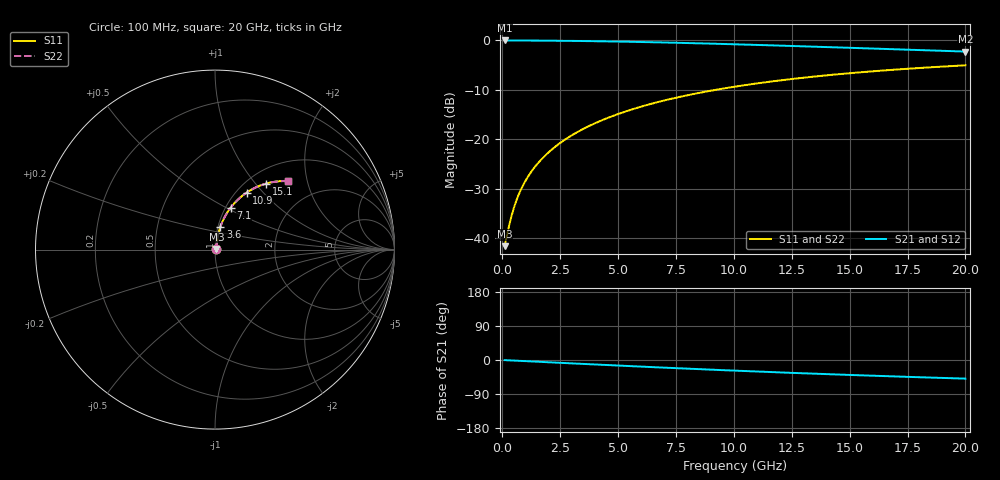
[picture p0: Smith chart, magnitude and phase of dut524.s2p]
! Touchstone file exported from HFSS 2024.1.0
!  File:  C:/UserFiles/LocalFiles/RDL_TSV_Batchsim/temp_RDL_bottom_524_1779688253.aedt
!  Generated:  01:53:22 PM May 25, 2026
!  Design:  RDL_bottom
!  Project:  temp_RDL_bottom_524_1779688253
!  Setup:  Setup1
!  Solution:  Sweep
! Variables:
!  dtsv = 10.80580581um
!  hbump = 3um
!  htsv = 85.27um
!  ldown = 625.69um
!  lrdl = 100um
!  p = 40
!  p1 = 49.77um
!  rhole = 1um
!  t = 450um
!  tdown = 2.95um
!  trdl = 3.915915916um
!  wdown = 10.06um
!  wrdl = 20um
# GHz S MA R 50.000000
! Terminal data exported
! Port[1] = RDL1_T1
! Port[2] = RDL1_T2
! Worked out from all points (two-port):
!   200 points, 100 MHz to 20 GHz, reference 50 ohm
!   highest |S21| = -0.06 dB at 100 MHz (marker M1); lowest = -2.3 dB at 20 GHz (marker M2)
!   |S21| within 3 dB of the highest: start of sweep to end of sweep
!   lowest |S11| = -41.6 dB at 100 MHz (marker M3), VSWR 1.02, Z = 50.7 + j0.381 ohm
!   |S11| at or under -10 dB: start of sweep to 9.251 GHz
!   |S22| runs from -41.6 to -5.1 dB; largest |S21 - S12| = 3.1e-15
!   S11 on the Smith chart (normalised r, x): 100 MHz: 1.01, +0.01; 3.6 GHz: 1.03, +0.27; 7.1 GHz: 1.06, +0.53; 10.9 GHz: 1.11, +0.81; 15.1 GHz: 1.21, +1.14; 20 GHz: 1.38, +1.53
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0.1  0.008344 26.7  0.9926 -0.3  0.9926 -0.3  0.008344 26.7
! Gamma 0 0 0 0
! Port Impedance 50 0 50 0
0.3  0.01361 55.6  0.9924 -0.9  0.9924 -0.9  0.01361 55.6
0.4  0.01689 62.1  0.9922 -1.2  0.9922 -1.2  0.01689 62.1
0.6  0.02381 69.3  0.9918 -1.8  0.9918 -1.8  0.02381 69.3
0.7  0.02734 71.4  0.9916 -2.1  0.9916 -2.1  0.02734 71.4
0.9  0.03446 74.1  0.9911 -2.7  0.9911 -2.7  0.03446 74.1
1.2  0.04518 76.4  0.9903 -3.6  0.9903 -3.6  0.04518 76.4
1.7  0.06309 77.9  0.9887 -5.1  0.9887 -5.1  0.06309 77.9
2.2  0.081 78.2  0.9867 -6.6  0.9867 -6.6  0.081 78.2
2.8  0.1024 77.8  0.9837 -8.3  0.9837 -8.3  0.1024 77.8
3.5  0.1273 76.9  0.9794 -10.4  0.9794 -10.4  0.1273 76.9
3.6  0.1308 76.7  0.9787 -10.7  0.9787 -10.7  0.1308 76.7
5  0.1796 74.1  0.9676 -14.7  0.9676 -14.7  0.1796 74.1
6.8  0.2399 70.2  0.9492 -19.7  0.9492 -19.7  0.2399 70.2
7.1  0.2496 69.5  0.9458 -20.5  0.9458 -20.5  0.2496 69.5
8.5  0.2936 66.3  0.9287 -24.2  0.9287 -24.2  0.2936 66.3
10.1  0.3409 62.7  0.9074 -28.2  0.9074 -28.2  0.3408 62.7
10.9  0.3632 61.0  0.8963 -30.2  0.8963 -30.2  0.3632 60.9
13.4  0.4274 55.6  0.8603 -36.0  0.8603 -36.0  0.4273 55.6
15.1  0.4661 52.2  0.8355 -39.6  0.8355 -39.6  0.466 52.2
16.7  0.499 49.1  0.8125 -42.9  0.8125 -42.9  0.4989 49.1
20  0.5571 43.2  0.7668 -49.1  0.7668 -49.1  0.557 43.2
